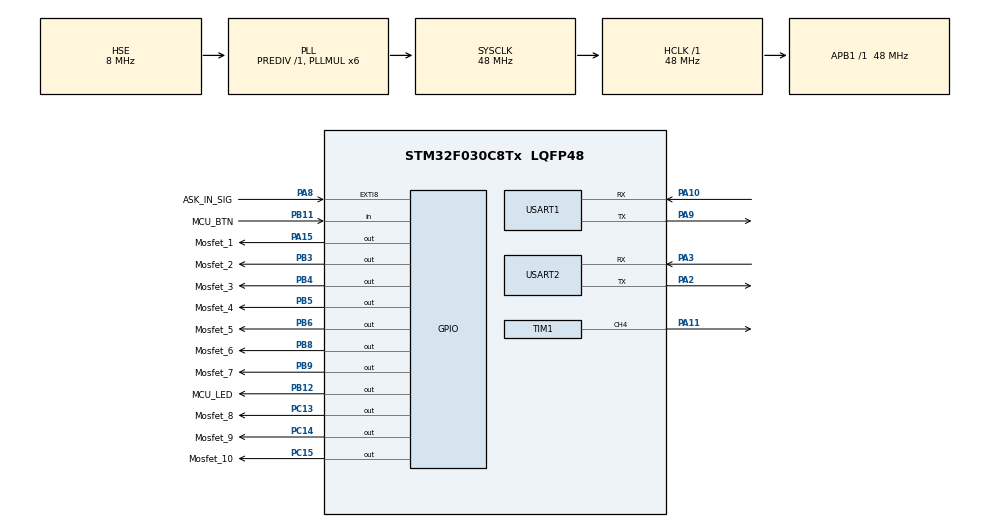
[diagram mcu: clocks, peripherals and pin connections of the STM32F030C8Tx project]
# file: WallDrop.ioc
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Dma.Request0=TIM1_CH4/TRIG/COM
Dma.TIM1_CH4/TRIG/COM.0.Direction=DMA_MEMORY_TO_PERIPH
Dma.TIM1_CH4/TRIG/COM.0.Instance=DMA1_Channel4
Dma.TIM1_CH4/TRIG/COM.0.MemDataAlignment=DMA_MDATAALIGN_HALFWORD
Dma.TIM1_CH4/TRIG/COM.0.MemInc=DMA_MINC_ENABLE
Dma.TIM1_CH4/TRIG/COM.0.Mode=DMA_NORMAL
Dma.TIM1_CH4/TRIG/COM.0.PeriphDataAlignment=DMA_PDATAALIGN_HALFWORD
Dma.TIM1_CH4/TRIG/COM.0.PeriphInc=DMA_PINC_DISABLE
Dma.TIM1_CH4/TRIG/COM.0.Priority=DMA_PRIORITY_LOW
Mcu.Family=STM32F0
Mcu.Name=STM32F030C8Tx
Mcu.Package=LQFP48
NVIC.DMA1_Channel4_5_IRQn=true\:0\:0\:false\:false\:true\:false\:true\:true
NVIC.EXTI4_15_IRQn=true\:0\:0\:false\:false\:true\:true\:true\:true
PA10.Mode=Asynchronous
PA10.Signal=USART1_RX
PA11.Signal=S_TIM1_CH4
PA13.Mode=Serial_Wire
PA13.Signal=SYS_SWDIO
PA14.Mode=Serial_Wire
PA14.Signal=SYS_SWCLK
PA15.GPIO_Label=Mosfet_1
PA15.GPIO_PuPd=GPIO_PULLUP
PA15.Signal=GPIO_Output
PA2.Mode=Asynchronous
PA2.Signal=USART2_TX
PA3.Mode=Asynchronous
PA3.Signal=USART2_RX
PA8.GPIO_Label=ASK_IN_SIG
PA8.GPIO_ModeDefaultEXTI=GPIO_MODE_IT_RISING_FALLING
PA8.Signal=GPXTI8
PA9.Mode=Asynchronous
PA9.Signal=USART1_TX
PB11.GPIO_Label=MCU_BTN
PB11.GPIO_PuPd=GPIO_PULLUP
PB11.Signal=GPIO_Input
PB12.GPIO_Label=MCU_LED
PB12.Signal=GPIO_Output
PB3.GPIO_Label=Mosfet_2
PB3.GPIO_PuPd=GPIO_PULLUP
PB3.Signal=GPIO_Output
PB4.GPIO_Label=Mosfet_3
PB4.GPIO_PuPd=GPIO_PULLUP
PB4.Signal=GPIO_Output
PB5.GPIO_Label=Mosfet_4
PB5.GPIO_PuPd=GPIO_PULLUP
PB5.Signal=GPIO_Output
PB6.GPIO_Label=Mosfet_5
PB6.GPIO_PuPd=GPIO_PULLUP
PB6.Signal=GPIO_Output
PB8.GPIO_Label=Mosfet_6
PB8.GPIO_PuPd=GPIO_PULLUP
PB8.Signal=GPIO_Output
PB9.GPIO_Label=Mosfet_7
PB9.GPIO_PuPd=GPIO_PULLUP
PB9.Signal=GPIO_Output
PC13.GPIO_Label=Mosfet_8
PC13.GPIO_PuPd=GPIO_PULLUP
PC13.Signal=GPIO_Output
PC14-OSC32_IN.GPIO_Label=Mosfet_9
PC14-OSC32_IN.GPIO_PuPd=GPIO_PULLUP
PC14-OSC32_IN.Signal=GPIO_Output
PC15-OSC32_OUT.GPIO_Label=Mosfet_10
PC15-OSC32_OUT.GPIO_PuPd=GPIO_PULLUP
PC15-OSC32_OUT.Signal=GPIO_Output
PF0-OSC_IN.Mode=HSE-External-Oscillator
PF0-OSC_IN.Signal=RCC_OSC_IN
PF1-OSC_OUT.Mode=HSE-External-Oscillator
PF1-OSC_OUT.Signal=RCC_OSC_OUT
ProjectManager.HeapSize=0x200
ProjectManager.StackSize=0x400
ProjectManager.TargetToolchain=STM32CubeIDE
RCC.AHBFreq_Value=48000000
RCC.APB1Freq_Value=48000000
RCC.APB1TimFreq_Value=48000000
RCC.HCLKFreq_Value=48000000
RCC.PLLMUL=RCC_PLL_MUL6
RCC.PLLSourceVirtual=RCC_PLLSOURCE_HSE
RCC.SYSCLKFreq_VALUE=48000000
RCC.SYSCLKSource=RCC_SYSCLKSOURCE_PLLCLK
SH.S_TIM1_CH4.0=TIM1_CH4,PWM Generation4 CH4
TIM1.Channel-PWM\ Generation4\ CH4=TIM_CHANNEL_4
TIM1.Period=59
TIM14.ClockDivision=TIM_CLOCKDIVISION_DIV1
TIM14.Prescaler=47999
TIM6.Prescaler=479
USART1.VirtualMode-Asynchronous=VM_ASYNC
USART2.VirtualMode-Asynchronous=VM_ASYNC
VP_TIM14_VS_ClockSourceINT.Mode=Enable_Timer
VP_TIM6_VS_ClockSourceINT.Mode=Enable_Timer
board=custom

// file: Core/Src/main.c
/* USER CODE BEGIN Header */
/**
  ******************************************************************************
  * @file           : main.c
  * @brief          : Main program body
  ******************************************************************************
  * @attention
  *
  * Copyright (c) 2026 STMicroelectronics.
  * All rights reserved.
  *
  * This software is licensed under terms that can be found in the LICENSE file
  * in the root directory of this software component.
  * If no LICENSE file comes with this software, it is provided AS-IS.
  *
  ******************************************************************************
  */
/* USER CODE END Header */
#include "main.h"
#include "dma.h"
#include "tim.h"
#include "usart.h"
#include "gpio.h"

/* USER CODE BEGIN Includes */
#include <ask_rt433.h>
#include "FLASH_PAGE.h"
#include <WS2811_12.h>

/* USER CODE END Includes */

/* USER CODE BEGIN PM */
typedef enum{
	idle,
	learning,
	learned
}learning_state_t;
learning_state_t ask_learning_state = idle;
uint8_t remote_pressed = false;
uint32_t ask_code_in_flash;
ask_t rf433;
uint8_t code[5];

uint8_t Test = 0; /////// For Debug

typedef enum{
	idle_before_Start,
	waiting_For_Start,
	button_Clicked,
	playing_Game,
	difficulty_setting,
	turn_setting,
}state_Of_Game_t;
state_Of_Game_t game_State = waiting_For_Start;

uint8_t timer = 0;
uint8_t hold_timer_cnt = 0, not_hold_timer_cnt = 0;
uint8_t Test,Test_B,Test_C;
uint8_t coin;
uint8_t remote_is_hold;
uint8_t remote_start_hold;
uint8_t a_hold;
uint8_t b_hold;
uint8_t c_hold;
uint8_t a_hold_timer_cnt = 0;
uint8_t b_hold_timer_cnt = 0;
uint8_t c_hold_timer_cnt = 0;
uint8_t A_is_pressed;

uint32_t remote_duration_hold = 0 ;

uint32_t a_hold_start_time = 0;
uint8_t a_hold_executed = 0;

uint8_t  a_pressed = 0, a_done = 0;
uint32_t a_start = 0, a_last = 0;

uint8_t  b_pressed = 0, b_done = 0;
uint32_t b_start = 0, b_last = 0;

uint8_t  c_pressed = 0, c_done = 0;
uint32_t c_start = 0, c_last = 0;

uint16_t MOSFET_PINS[10] =
{
    GPIO_PIN_15, // MOSFET 1
    GPIO_PIN_3,  // MOSFET 2
    GPIO_PIN_4,  // MOSFET 3
    GPIO_PIN_5,  // MOSFET 4
    GPIO_PIN_6,  // MOSFET 5
    GPIO_PIN_8,  // MOSFET 6
    GPIO_PIN_9,  // MOSFET 7
    GPIO_PIN_13, // MOSFET 8
    GPIO_PIN_14, // MOSFET 9
    GPIO_PIN_15  // MOSFET 10
};

GPIO_TypeDef *MOSFET_PORTS[10] =
{
    GPIOA, GPIOB, GPIOB, GPIOB, GPIOB,
    GPIOB, GPIOB, GPIOC, GPIOC, GPIOC
};

/* USER CODE END PM */

void SystemClock_Config(void);

/* USER CODE BEGIN 0 */
//void HAL_GPIO_EXTI_Callback(uint16_t GPIO_PIN)
//{
//	if (GPIO_PIN == RX433_PIN)
//	{
//		ask_pinchange_callback(&ask433);
//	}
//}
//void HAL_GPIO_EXTI_Callback(uint16_t GPIO_PIN)
//{
//    if (GPIO_PIN == RX433_PIN)
//    {
//        ask_pinchange_callback(&rf433);
//    }
//}

//void HAL_GPIO_EXTI_Callback(uint16_t GPIO_Pin)
//{
//    if (GPIO_Pin == ASK_IN_SIG_Pin)
//    {
//        ask_callBackPinChange(&rf433);
//    }
//}
void HAL_GPIO_EXTI_Callback(uint16_t GPIO_Pin)
{
	 if (GPIO_Pin == ASK_IN_SIG_Pin)
	    {
//	        Test = !Test;

	        ask_callBackPinChange(&rf433);

//	        if (rf433.index > 0)
//	        {
//	            Test = 1;
//	        }
	    }
}

void check_And_Learn_Ask()
{

	ask_loop(&rf433);
	if (ask_available(&rf433))
	{

		ask_read(&rf433, code, NULL, NULL);
		if((ask_code_in_flash & 0x0000FFFF) == (code[0] | (code[1] << 8)))
		{
		    HAL_GPIO_WritePin(MCU_LED_GPIO_Port, MCU_LED_Pin, 1);

		    if((code[2] & 0x0F) == 0x01)    // A
		    {
		        coin = 1;
		        if(a_pressed == 0)
		        {
		            a_pressed = 1;
		            a_start = HAL_GetTick();
		        }
		        a_last = HAL_GetTick();
		    }
		    else if((code[2] & 0x0F) == 0x02)    // B
		    {
		        if(b_pressed == 0)
		        {
		            b_pressed = 1;
		            b_start = HAL_GetTick();
		        }
		        b_last = HAL_GetTick();
		    }
		    else if((code[2] & 0x0F) == 0x04)    // C
		    {
		        if(c_pressed == 0)
		        {
		            c_pressed = 1;
		            c_start = HAL_GetTick();
		        }
		        c_last = HAL_GetTick();
		    }
		}
	}

	else
	{
		HAL_GPIO_WritePin(MCU_LED_GPIO_Port, MCU_LED_Pin, 0);
	}

	if(ask_learning_state == idle)	// Learn Procedure ...
	{
		if(!HAL_GPIO_ReadPin(MCU_BTN_GPIO_Port, MCU_BTN_Pin))
		{
			timer=0;
			ask_learning_state = learning;
		}
	}
	else if(ask_learning_state == learning)
	{
		if(timer==35)// wait for 5 seconds
		{
			// ask code is valid, so save it ...
			ask_code_in_flash = code[0] | (code[1] << 8) | (0x00 << 16);
			blinking();
			Flash_Write_Data(0x08007000, &ask_code_in_flash, 1);
			ask_learning_state = learned;
		}

		if(HAL_GPIO_ReadPin(MCU_BTN_GPIO_Port, MCU_BTN_Pin))	// BTN is released, learning procedure failed
			ask_learning_state = idle;

	}
	else // learned
	{
		// wait for BTN to release
		if(HAL_GPIO_ReadPin(MCU_BTN_GPIO_Port, MCU_BTN_Pin))
			ask_learning_state = idle;
	}
}

void blinking()
{
	for(int i=0;i<=5;i++)
	{
		HAL_GPIO_WritePin(MCU_LED_GPIO_Port, MCU_LED_Pin, 1);
		HAL_Delay(75);
		HAL_GPIO_WritePin(MCU_LED_GPIO_Port, MCU_LED_Pin, 0);
		HAL_Delay(75);
	}
}
void timer_Update()
{
	if(htim14.Instance->CNT>150)
	{
		htim14.Instance->CNT=0;
		timer++;
	}
}

void check_a_hold_key()
{
    if(a_pressed == 1)
    {
        if((HAL_GetTick() - a_last) > 500)
        {
            a_pressed = 0;
        }
        else if(a_done == 0 && (HAL_GetTick() - a_start) >= 4800)
        {
            Test = 1;
            a_done = 1;
        }
    }
    else
    {
        a_done = 0;
    }
}

void check_b_hold_key()
{
    if(b_pressed == 1)
    {
        if((HAL_GetTick() - b_last) > 500)
        {
            b_pressed = 0;
        }
        else if(b_done == 0 && (HAL_GetTick() - b_start) >= 5000)
        {
            Test_B = 1;
            b_done = 1;
        }
    }
    else
    {
        b_done = 0;
    }
}

void check_c_hold_key()
{
    if(c_pressed == 1)
    {
        if((HAL_GetTick() - c_last) > 500)
        {
            c_pressed = 0;
        }
        else if(c_done == 0 && (HAL_GetTick() - c_start) >= 5000)
        {
            Test_C = 1;
            c_done = 1;
        }
    }
    else
    {
        c_done = 0;
    }
}

void shuffle(uint8_t *array, uint8_t size)
{
	for (int i = size - 1; i > 0; i--) {
		int j = rand() % (i + 1);

		int temp = array[i];
		array[i] = array[j];
		array[j] = temp;
	}
}

void MOSFET_Control(uint8_t number, uint8_t state)
{
    HAL_GPIO_WritePin(MOSFET_PORTS[number],MOSFET_PINS[number],state);
}

void ON_ALL_MOSFET(void)
{

	for(uint8_t i = 0; i < 10; i++)
	    {
	        MOSFET_Control(i, 1);
	    }

}
void OFF_ALL_MOSFET(void)
{
	for(uint8_t i = 0; i < 10; i++)
		    {
		        MOSFET_Control(i, 0);
		    }
}

void Random_Generate(uint8_t *array, uint8_t size)
{
    for (uint8_t i = 0; i < size; i++)
    {
        array[i] = i;
    }

    shuffle(array, size);
}

void Start_Game(void)
{
    uint8_t order[10];
    Random_Generate(order, 10);
    for (uint8_t i = 0; i < 10; i++)
    {
        MOSFET_Control(order[i], GPIO_PIN_RESET);

        HAL_Delay(1000);
    }
}

//void HAL_GPIO_EXTI_Callback(uint16_t GPIO_Pin)
//{
//    if (GPIO_Pin == RX433_PIN)
//    {
//        HAL_GPIO_TogglePin(MCU_LED_GPIO_Port, MCU_LED_Pin);
//        ask_pinchange_callback(&ask433);
//    }
//}
/* USER CODE END 0 */

int main(void)
{

  /* MCU Configuration--------------------------------------------------------*/

  /* Reset of all peripherals, Initializes the Flash interface and the Systick. */
  HAL_Init();

  /* Configure the system clock */
  SystemClock_Config();

  /* Initialize all configured peripherals */
  MX_GPIO_Init();
  MX_DMA_Init();
  MX_TIM1_Init();
  MX_USART1_UART_Init();
  MX_USART2_UART_Init();
  MX_TIM6_Init();
  MX_TIM14_Init();
  /* USER CODE BEGIN 2 */
  HAL_TIM_Base_Start(&htim14);
  HAL_TIM_Base_Start(&htim6);
  ask_init(&rf433,ASK_IN_SIG_GPIO_Port,ASK_IN_SIG_Pin);
  Flash_Read_Data(0x08007000, &ask_code_in_flash, 1);
  game_State = idle_before_Start;

  /* USER CODE END 2 */

  /* Infinite loop */
  while (1)
  {

    /* USER CODE BEGIN 3 */

	  check_And_Learn_Ask();
	  timer_Update();
	  for(int i = 0; i <10; i++)
	  {
	  Set_LED(i, 255, 255, 255);
	  WS2812_Send();
	  HAL_Delay(1000);
	  }

//	  if(game_State == idle_before_Start)
//	  {
//	  if(coin)
//	  {
//		 ON_ALL_MOSFET();
//		 game_State = waiting_For_Start;
//	  }
//	  if(!coin)
//		  OFF_ALL_MOSFET();
//	  }
//	  else if(game_State == waiting_For_Start)
//	  {
//		  check_a_hold_key();
//		  check_b_hold_key();
//		  check_c_hold_key();
//		  ON_ALL_MOSFET();
//		  if(Test == 1)
//		  {
//			  game_State = playing_Game;
//		  }
//
//	  }
//	  else if(game_State == playing_Game)
//	  {
//		  Start_Game();
//		  coin = 0;
//		  Test = 0;
//		  game_State = idle_before_Start;
//
//	  }
//
//
//
//
//
  }
  /* USER CODE END 3 */
}

void SystemClock_Config(void)
{
  RCC_OscInitTypeDef RCC_OscInitStruct = {0};
  RCC_ClkInitTypeDef RCC_ClkInitStruct = {0};
  RCC_PeriphCLKInitTypeDef PeriphClkInit = {0};

  /** Initializes the RCC Oscillators according to the specified parameters
  * in the RCC_OscInitTypeDef structure.
  */
  RCC_OscInitStruct.OscillatorType = RCC_OSCILLATORTYPE_HSE;
  RCC_OscInitStruct.HSEState = RCC_HSE_ON;
  RCC_OscInitStruct.PLL.PLLState = RCC_PLL_ON;
  RCC_OscInitStruct.PLL.PLLSource = RCC_PLLSOURCE_HSE;
  RCC_OscInitStruct.PLL.PLLMUL = RCC_PLL_MUL6;
  RCC_OscInitStruct.PLL.PREDIV = RCC_PREDIV_DIV1;
  if (HAL_RCC_OscConfig(&RCC_OscInitStruct) != HAL_OK)
  {
    Error_Handler();
  }

  /** Initializes the CPU, AHB and APB buses clocks
  */
  RCC_ClkInitStruct.ClockType = RCC_CLOCKTYPE_HCLK|RCC_CLOCKTYPE_SYSCLK
                              |RCC_CLOCKTYPE_PCLK1;
  RCC_ClkInitStruct.SYSCLKSource = RCC_SYSCLKSOURCE_PLLCLK;
  RCC_ClkInitStruct.AHBCLKDivider = RCC_SYSCLK_DIV1;
  RCC_ClkInitStruct.APB1CLKDivider = RCC_HCLK_DIV1;

  if (HAL_RCC_ClockConfig(&RCC_ClkInitStruct, FLASH_LATENCY_1) != HAL_OK)
  {
    Error_Handler();
  }
  PeriphClkInit.PeriphClockSelection = RCC_PERIPHCLK_USART1;
  PeriphClkInit.Usart1ClockSelection = RCC_USART1CLKSOURCE_PCLK1;
  if (HAL_RCCEx_PeriphCLKConfig(&PeriphClkInit) != HAL_OK)
  {
    Error_Handler();
  }
}

void Error_Handler(void)
{
  __disable_irq();
  while (1)
  {
  }
}
